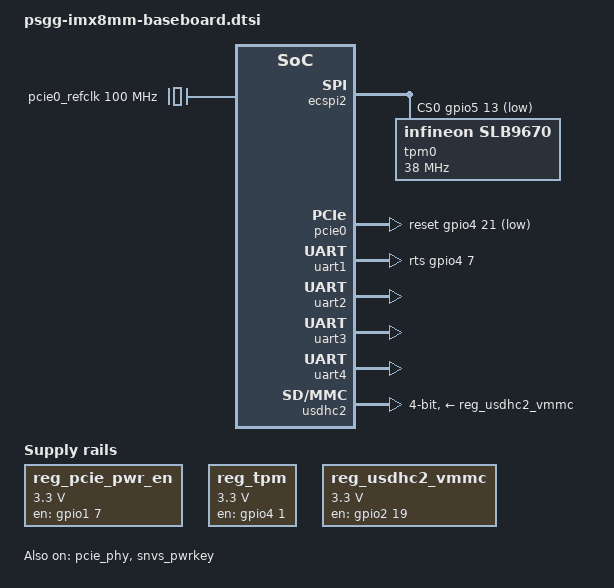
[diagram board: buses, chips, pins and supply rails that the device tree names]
// SPDX-License-Identifier: (GPL-2.0 OR MIT)
/*
 * Copyright 2022 Prometheus Security Group
 */

#include <dt-bindings/phy/phy-imx8-pcie.h>

/ {
	pcie0_refclk: pcie0-refclk {
		compatible = "fixed-clock";
		#clock-cells = <0>;
		clock-frequency = <100000000>;
	};

	reg_pcie_pwr_en: regulator-pci_pwr_en {
		pinctrl-names = "default";
		pinctrl-0 = <&pinctrl_pcie_pwr>;
		compatible = "regulator-fixed";
		regulator-name = "pci_pwr_en";
		regulator-min-microvolt = <3300000>;
		regulator-max-microvolt = <3300000>;
		enable-active-high;
		gpio = <&gpio1 7 GPIO_ACTIVE_HIGH>;
	};

	reg_tpm: regulator-tpm {
		compatible = "regulator-fixed";
		pinctrl-0 = <&pinctrl_tpm_reset>;
		regulator-name = "tpm2-regulator";
		regulator-min-microvolt = <3300000>;
		regulator-max-microvolt = <3300000>;
		gpio = <&gpio4 1 GPIO_ACTIVE_HIGH>;
		enable-active-high;
		regulator-always-on;
	};

	reg_usdhc2_vmmc: regulator-usdhc2 {
		compatible = "regulator-fixed";
		regulator-name = "VSD_3V3";
		regulator-min-microvolt = <3300000>;
		regulator-max-microvolt = <3300000>;
		gpio = <&gpio2 19 GPIO_ACTIVE_HIGH>;
		enable-active-high;
	};
};

&ecspi2 {
	pinctrl-names = "default";
	pinctrl-0 = <&pinctrl_espi2>;
	cs-gpios = <&gpio5 13 GPIO_ACTIVE_LOW>;
	status = "okay";

	tpm0: slb9670@0 {
		compatible = "infineon,slb9670";
		reg = <0>;
		spi-max-frequency = <38000000>;
	};
};

&pcie_phy {
	fsl,refclk-pad-mode = <IMX8_PCIE_REFCLK_PAD_INPUT>;
	fsl,tx-deemph-gen1 = <0x2d>;
	fsl,tx-deemph-gen2 = <0xf>;
	clocks = <&pcie0_refclk>;
	status = "okay";
};

&pcie0 {
	pinctrl-names = "default";
	pinctrl-0 = <&pinctrl_pcie0>;
	vpcie-supply = <&reg_pcie_pwr_en>;
	disable-gpio = <&gpio1 5 GPIO_ACTIVE_LOW>;
	reset-gpios = <&gpio4 21 GPIO_ACTIVE_LOW>;
	clocks = <&clk IMX8MM_CLK_PCIE1_ROOT>,
		 <&clk IMX8MM_CLK_PCIE1_AUX>,
		 <&clk IMX8MM_CLK_PCIE1_PHY>,
		 <&pcie0_refclk>;
	clock-names = "pcie", "pcie_aux", "pcie_phy", "pcie_bus";
	ext_osc = <1>;
	status = "okay";
};

&snvs_pwrkey {
	status = "okay";
};

&uart1 {
        rts-gpios = <&gpio4 7 GPIO_ACTIVE_HIGH>;
        linux,rs485-enabled-at-boot-time;
        /delete-property/ uart-has-rtscts;
        /delete-property/ assigned-clocks;
        /delete-property/ assigned-clock-parents;
        /delete-node/ bluetooth;
};

&uart2 {
	pinctrl-names = "default";
	pinctrl-0 = <&pinctrl_uart2>;
        dmas = <&sdma1 24 4 0>, <&sdma1 25 4 0>;
        dma-names = "rx", "tx";
	status = "okay";
};

&uart3 {
	pinctrl-names = "default";
	pinctrl-0 = <&pinctrl_uart3>;
	/delete-property/ dmas;
	/delete-property/ dma-names;
	/delete-property/ assigned-clocks;
	/delete-property/ assigned-clock-parents;
	status = "okay";
};

&uart4 {
	pinctrl-names = "default";
	pinctrl-0 = <&pinctrl_uart4>;
	status = "okay";
};

&usdhc1 {
        status = "disabled";
};

&usdhc2 {
	pinctrl-names = "default", "state_100mhz", "state_200mhz";
	pinctrl-0 = <&pinctrl_usdhc2>, <&pinctrl_usdhc2_gpio>;
	pinctrl-1 = <&pinctrl_usdhc2_100mhz>;
	pinctrl-2 = <&pinctrl_usdhc2_200mhz>;
	bus-width = <4>;
	vmmc-supply = <&reg_usdhc2_vmmc>;
	status = "okay";
};

&iomuxc {
	pinctrl_espi2: espi2grp {
		fsl,pins = <
			MX8MM_IOMUXC_ECSPI2_SCLK_ECSPI2_SCLK		0x82
			MX8MM_IOMUXC_ECSPI2_MOSI_ECSPI2_MOSI		0x82
			MX8MM_IOMUXC_ECSPI2_MISO_ECSPI2_MISO		0x82
			MX8MM_IOMUXC_ECSPI2_SS0_GPIO5_IO13		0x41
		>;
	};

	pinctrl_pcie_pwr: pcie_pwrgrp {
		fsl,pins = <
			MX8MM_IOMUXC_GPIO1_IO07_GPIO1_IO7	0x41
		>;
	};

	pinctrl_tpm_reset: tpmgrp {
		fsl,pins = <
			MX8MM_IOMUXC_SAI1_RXC_GPIO4_IO1		0x41
		>;
	};

	pinctrl_uart2: uart2grp {
		fsl,pins = <
			MX8MM_IOMUXC_UART2_RXD_UART2_DCE_RX	0x140
			MX8MM_IOMUXC_UART2_TXD_UART2_DCE_TX	0x140
		>;
	};

	pinctrl_uart3: uart3grp {
		fsl,pins = <
			MX8MM_IOMUXC_ECSPI1_SCLK_UART3_DCE_RX		0x40
			MX8MM_IOMUXC_ECSPI1_MOSI_UART3_DCE_TX		0x40
		>;
	};

	pinctrl_usdhc2_gpio: usdhc2gpiogrp {
		fsl,pins = <
			MX8MM_IOMUXC_SD2_CD_B_USDHC2_CD_B	0x41
			MX8MM_IOMUXC_SD2_RESET_B_GPIO2_IO19	0x41
		>;
	};

	pinctrl_usdhc2: usdhc2grp {
		fsl,pins = <
			MX8MM_IOMUXC_SD2_CLK_USDHC2_CLK	0x190
			MX8MM_IOMUXC_SD2_CMD_USDHC2_CMD	0x1d0
			MX8MM_IOMUXC_SD2_DATA0_USDHC2_DATA0	0x1d0
			MX8MM_IOMUXC_SD2_DATA1_USDHC2_DATA1	0x1d0
			MX8MM_IOMUXC_SD2_DATA2_USDHC2_DATA2	0x1d0
			MX8MM_IOMUXC_SD2_DATA3_USDHC2_DATA3	0x1d0
			MX8MM_IOMUXC_GPIO1_IO04_USDHC2_VSELECT	0x1d0
		>;
	};

	pinctrl_usdhc2_100mhz: usdhc2-100mhzgrp {
		fsl,pins = <
			MX8MM_IOMUXC_SD2_CLK_USDHC2_CLK	0x194
			MX8MM_IOMUXC_SD2_CMD_USDHC2_CMD	0x1d4
			MX8MM_IOMUXC_SD2_DATA0_USDHC2_DATA0	0x1d4
			MX8MM_IOMUXC_SD2_DATA1_USDHC2_DATA1	0x1d4
			MX8MM_IOMUXC_SD2_DATA2_USDHC2_DATA2	0x1d4
			MX8MM_IOMUXC_SD2_DATA3_USDHC2_DATA3	0x1d4
			MX8MM_IOMUXC_GPIO1_IO04_USDHC2_VSELECT	0x1d0
		>;
	};

	pinctrl_usdhc2_200mhz: usdhc2-200mhzgrp {
		fsl,pins = <
			MX8MM_IOMUXC_SD2_CLK_USDHC2_CLK	0x196
			MX8MM_IOMUXC_SD2_CMD_USDHC2_CMD	0x1d6
			MX8MM_IOMUXC_SD2_DATA0_USDHC2_DATA0	0x1d6
			MX8MM_IOMUXC_SD2_DATA1_USDHC2_DATA1	0x1d6
			MX8MM_IOMUXC_SD2_DATA2_USDHC2_DATA2	0x1d6
			MX8MM_IOMUXC_SD2_DATA3_USDHC2_DATA3	0x1d6
			MX8MM_IOMUXC_GPIO1_IO04_USDHC2_VSELECT	0x1d0
		>;
	};

        pinctrl_uart4: uart4grp {
                fsl,pins = <
                        MX8MM_IOMUXC_UART4_RXD_UART4_DCE_RX     0x140
                        MX8MM_IOMUXC_UART4_TXD_UART4_DCE_TX     0x140
                >;
        };
};
